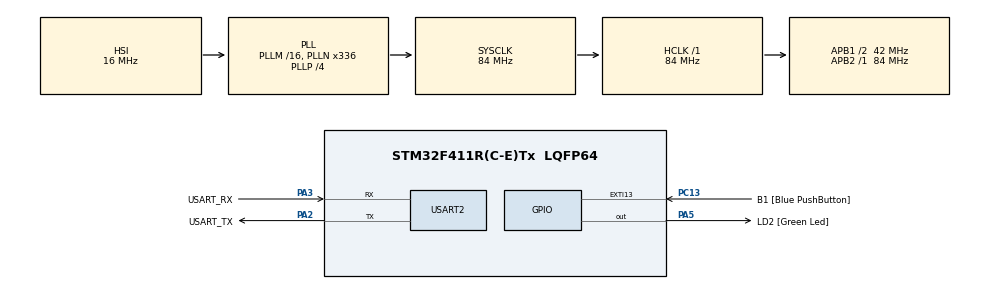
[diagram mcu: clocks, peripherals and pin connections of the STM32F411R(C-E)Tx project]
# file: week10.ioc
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Mcu.Family=STM32F4
Mcu.Name=STM32F411R(C-E)Tx
Mcu.Package=LQFP64
NVIC.PriorityGroup=NVIC_PRIORITYGROUP_0
NVIC.USART2_IRQn=true\:0\:0\:false\:false\:true\:true\:true
PA13.GPIO_Label=TMS
PA13.Mode=Serial_Wire
PA13.Signal=SYS_JTMS-SWDIO
PA14.GPIO_Label=TCK
PA14.Mode=Serial_Wire
PA14.Signal=SYS_JTCK-SWCLK
PA2.GPIO_Label=USART_TX
PA2.Mode=Asynchronous
PA2.Signal=USART2_TX
PA3.GPIO_Label=USART_RX
PA3.Mode=Asynchronous
PA3.Signal=USART2_RX
PA5.GPIO_Label=LD2 [Green Led]
PA5.Signal=GPIO_Output
PB3.GPIO_Label=SWO
PB3.Signal=SYS_JTDO-SWO
PC13-ANTI_TAMP.GPIO_Label=B1 [Blue PushButton]
PC13-ANTI_TAMP.GPIO_ModeDefaultEXTI=GPIO_MODE_IT_FALLING
PC13-ANTI_TAMP.Signal=GPXTI13
PC14-OSC32_IN.Mode=LSE-External-Oscillator
PC14-OSC32_IN.Signal=RCC_OSC32_IN
PC15-OSC32_OUT.Mode=LSE-External-Oscillator
PC15-OSC32_OUT.Signal=RCC_OSC32_OUT
PH0\ -\ OSC_IN.Mode=HSE-External-Clock-Source
PH0\ -\ OSC_IN.Signal=RCC_OSC_IN
PH1\ -\ OSC_OUT.Mode=HSE-External-Clock-Source
PH1\ -\ OSC_OUT.Signal=RCC_OSC_OUT
ProjectManager.HeapSize=0x200
ProjectManager.StackSize=0x400
ProjectManager.TargetToolchain=STM32CubeIDE
RCC.48MHZClocksFreq_Value=84000000
RCC.AHBFreq_Value=84000000
RCC.APB1CLKDivider=RCC_HCLK_DIV2
RCC.APB1Freq_Value=42000000
RCC.APB1TimFreq_Value=84000000
RCC.APB2Freq_Value=84000000
RCC.APB2TimFreq_Value=84000000
RCC.CortexFreq_Value=84000000
RCC.FLatency-AdvancedSettings=FLASH_LATENCY_2
RCC.HCLKFreq_Value=84000000
RCC.HSE_VALUE=8000000
RCC.HSI_VALUE=16000000
RCC.PLLN=336
RCC.PLLP=RCC_PLLP_DIV4
RCC.SYSCLKFreq_VALUE=84000000
RCC.SYSCLKSource=RCC_SYSCLKSOURCE_PLLCLK
RCC.VCOOutputFreq_Value=336000000
USART2.VirtualMode=VM_ASYNC
board=NUCLEO-F411RE

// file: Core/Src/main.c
/* USER CODE BEGIN Header */
/**
  ******************************************************************************
  * @file           : main.c
  * @brief          : Main program body
  ******************************************************************************
  * @attention
  *
  * <h2><center>&copy; Copyright (c) 2021 STMicroelectronics.
  * All rights reserved.</center></h2>
  *
  * This software component is licensed by ST under BSD 3-Clause license,
  * the "License"; You may not use this file except in compliance with the
  * License. You may obtain a copy of the License at:
  *                        opensource.org/licenses/BSD-3-Clause
  *
  ******************************************************************************
  */
/* USER CODE END Header */
#include "main.h"

/* USER CODE BEGIN Includes */
#include <stdio.h>//sprintf
#include <string.h>//string
/* USER CODE END Includes */

UART_HandleTypeDef huart2;

/* USER CODE BEGIN PV */
char TxDataBuffer[32] =
{ 0 };
char RxDataBuffer[32] =
{ 0 };
uint16_t STATE_Display = 0;
uint16_t freq = 1;
float halftime = 500;
uint16_t blink = 1;
uint16_t on = 1;
uint16_t button[2] = {};
uint16_t count = 0;
/* USER CODE END PV */

void SystemClock_Config(void);
static void MX_GPIO_Init(void);
static void MX_USART2_UART_Init(void);
/* USER CODE BEGIN PFP */
void UARTRecieveAndResponsePolling();
int16_t UARTRecieveIT();
/* USER CODE END PFP */

int main(void)
{

  /* MCU Configuration--------------------------------------------------------*/

  /* Reset of all peripherals, Initializes the Flash interface and the Systick. */
  HAL_Init();

  /* Configure the system clock */
  SystemClock_Config();

  /* Initialize all configured peripherals */
  MX_GPIO_Init();
  MX_USART2_UART_Init();
  /* USER CODE BEGIN 2 */
  enum _StateDisplay
  {
	  StateDisplay_start =0,
	  StateMode = 10,
	  StateMenuNo_0 = 20,
	  StateNo_0 = 30,
	  StateMenuNo_1 = 40,
	  StateNo_1 = 50
  };
  {
	  //char temp[] = "This simulation is ready wait for key.\r\n";
	  //HAL_UART_Transmit_IT(&huart2, (uint8_t*) temp,strlen(temp));
	  //HAL_UART_Transmit(&huart2, (uint8_t*) temp,strlen(temp),10);
  }
  /* USER CODE END 2 */

  /* Infinite loop */
  /* USER CODE BEGIN WHILE */
  while (1)
  {
	  button[0] = HAL_GPIO_ReadPin(GPIOC, GPIO_PIN_13);
	  HAL_UART_Receive_IT(&huart2,  (uint8_t*)RxDataBuffer, 4);
	  	  int16_t inputchar = UARTRecieveIT();
	  	  if(inputchar!=-1)
	  	  {
	  	  	sprintf(TxDataBuffer, "ReceivedChar:[%c]\r\n", inputchar);
	  	  	HAL_UART_Transmit(&huart2, (uint8_t*)TxDataBuffer, strlen(TxDataBuffer),1000);
	  	  }
	  switch(STATE_Display){
	  case StateDisplay_start://0
		  sprintf(TxDataBuffer, "Please select Mode.\r\n[0]:LED Control\r\n[1]:button Status\r\n");
		  HAL_UART_Transmit(&huart2, (uint8_t*)TxDataBuffer, strlen(TxDataBuffer),1000);
	  	  STATE_Display = StateMode;
	  	  break;
	  case StateMode://10
		  switch(inputchar){
		  case -1:
			  break;
		  case '0':
			  count = 0;
			  STATE_Display = StateMenuNo_0;
			  break;
		  case '1':
			  count = 0;
			  STATE_Display = StateMenuNo_1;
			  break;
		  default:
			  count+=1;
			  if(count==2)
			  {
				  count=0;
				  STATE_Display = StateDisplay_start;
			  }
		  }
		  break;
	  case StateMenuNo_0://20
		  sprintf(TxDataBuffer,"Mode0\r\n[a]:+1Hz\r\n[s]:-1Hz\r\n[d]:On/Off\r\n[x]:back\r\n");
		  HAL_UART_Transmit(&huart2, (uint8_t*)TxDataBuffer, strlen(TxDataBuffer),1000);
		  STATE_Display = StateNo_0;
		  break;
	  case StateNo_0://30
		  switch(inputchar){
		  		  		  case -1:
		  		  			  break;
		  		  		  case 'a':
		  		  			  if(on==1){
		  		  			  freq+=1;
		  		  			  halftime=500/freq;
		  		  			  blink=1;}
		  		  			  break;
		  		  		  case 's':
		  		  			  if(on==1){
		  		  			  freq-=1;
		  		  			  if(freq<=0)
		  		  			  {
		  		  				  freq=0;
		  		  				  blink=0;
		  		  			  }
		  		  			  else if(freq>0){
		  		  			  halftime=500/freq;}}
		  		  			  break;
		  		  		  case 'd':
		  		  			  if(blink==1)
		  		  			  {
		  		  				  blink=0;
		  		  				  on = 0;
		  		  			  }
		  		  			  else if(blink==0)
		  		  			  {
		  		  				  blink=1;
		  		  				  on = 1;
		  		  			  }
		  		  			  break;
		  		  		  case 'x':
		  		  			  count = 0;
		  		  			  STATE_Display = StateDisplay_start;
		  		  			  break;
		  				  default:
		  					  count+=1;
		  					  if(count==2)
		  					  {
		  						  count = 0;
		  						  STATE_Display = StateMenuNo_0;
		  					  }
		  		  		  }
		  		  		  break;
	  case StateMenuNo_1://40
		  sprintf(TxDataBuffer, "Mode1\r\n [x] : back\r\n");
		  HAL_UART_Transmit(&huart2, (uint8_t*)TxDataBuffer, strlen(TxDataBuffer),1000);
	  	  STATE_Display = StateNo_1;
	  	  break;
	  case StateNo_1://50
		  if(button[0]==0&button[1]==1)
		  {
			  sprintf(TxDataBuffer, "button press\r\n");
			  HAL_UART_Transmit(&huart2, (uint8_t*)TxDataBuffer, strlen(TxDataBuffer),1000);
		  }
		  else if (button[0]==1&button[1]==0)
		  {
			  sprintf(TxDataBuffer, "button unpress\r\n");
			  HAL_UART_Transmit(&huart2, (uint8_t*)TxDataBuffer, strlen(TxDataBuffer),1000);
		  }
		  switch(inputchar)
		  {
		  case -1:
			  break;
		  case 'x':
			  count = 0;
			  STATE_Display = StateDisplay_start;
			  break;
		  default:
			  count+=1;
			  if(count==2)
			  {
				  count = 0;
				  STATE_Display = StateMenuNo_1;
			  }
		  }
		  break;
	  }
	  if(blink == 0&on==1)
	  	  {
	  		  HAL_GPIO_WritePin(LD2_GPIO_Port, LD2_Pin, 1);
	  	  }
	  else if (blink == 0&on==0)
	  {
		  HAL_GPIO_WritePin(LD2_GPIO_Port, LD2_Pin,0);
	  }
	  else if(blink == 1){
		  HAL_Delay(halftime);
		  HAL_GPIO_TogglePin(LD2_GPIO_Port, LD2_Pin);}
	  button[1]=button[0];
    /* USER CODE END WHILE */

  }
}

void SystemClock_Config(void)
{
  RCC_OscInitTypeDef RCC_OscInitStruct = {0};
  RCC_ClkInitTypeDef RCC_ClkInitStruct = {0};

  /** Configure the main internal regulator output voltage
  */
  __HAL_RCC_PWR_CLK_ENABLE();
  __HAL_PWR_VOLTAGESCALING_CONFIG(PWR_REGULATOR_VOLTAGE_SCALE1);
  /** Initializes the RCC Oscillators according to the specified parameters
  * in the RCC_OscInitTypeDef structure.
  */
  RCC_OscInitStruct.OscillatorType = RCC_OSCILLATORTYPE_HSI;
  RCC_OscInitStruct.HSIState = RCC_HSI_ON;
  RCC_OscInitStruct.HSICalibrationValue = RCC_HSICALIBRATION_DEFAULT;
  RCC_OscInitStruct.PLL.PLLState = RCC_PLL_ON;
  RCC_OscInitStruct.PLL.PLLSource = RCC_PLLSOURCE_HSI;
  RCC_OscInitStruct.PLL.PLLM = 16;
  RCC_OscInitStruct.PLL.PLLN = 336;
  RCC_OscInitStruct.PLL.PLLP = RCC_PLLP_DIV4;
  RCC_OscInitStruct.PLL.PLLQ = 4;
  if (HAL_RCC_OscConfig(&RCC_OscInitStruct) != HAL_OK)
  {
    Error_Handler();
  }
  /** Initializes the CPU, AHB and APB buses clocks
  */
  RCC_ClkInitStruct.ClockType = RCC_CLOCKTYPE_HCLK|RCC_CLOCKTYPE_SYSCLK
                              |RCC_CLOCKTYPE_PCLK1|RCC_CLOCKTYPE_PCLK2;
  RCC_ClkInitStruct.SYSCLKSource = RCC_SYSCLKSOURCE_PLLCLK;
  RCC_ClkInitStruct.AHBCLKDivider = RCC_SYSCLK_DIV1;
  RCC_ClkInitStruct.APB1CLKDivider = RCC_HCLK_DIV2;
  RCC_ClkInitStruct.APB2CLKDivider = RCC_HCLK_DIV1;

  if (HAL_RCC_ClockConfig(&RCC_ClkInitStruct, FLASH_LATENCY_2) != HAL_OK)
  {
    Error_Handler();
  }
}

static void MX_USART2_UART_Init(void)
{

  huart2.Instance = USART2;
  huart2.Init.BaudRate = 115200;
  huart2.Init.WordLength = UART_WORDLENGTH_8B;
  huart2.Init.StopBits = UART_STOPBITS_1;
  huart2.Init.Parity = UART_PARITY_NONE;
  huart2.Init.Mode = UART_MODE_TX_RX;
  huart2.Init.HwFlowCtl = UART_HWCONTROL_NONE;
  huart2.Init.OverSampling = UART_OVERSAMPLING_16;
  if (HAL_UART_Init(&huart2) != HAL_OK)
  {
    Error_Handler();
  }

}

static void MX_GPIO_Init(void)
{
  GPIO_InitTypeDef GPIO_InitStruct = {0};

  /* GPIO Ports Clock Enable */
  __HAL_RCC_GPIOC_CLK_ENABLE();
  __HAL_RCC_GPIOH_CLK_ENABLE();
  __HAL_RCC_GPIOA_CLK_ENABLE();
  __HAL_RCC_GPIOB_CLK_ENABLE();

  /*Configure GPIO pin Output Level */
  HAL_GPIO_WritePin(LD2_GPIO_Port, LD2_Pin, GPIO_PIN_RESET);

  /*Configure GPIO pin : B1_Pin */
  GPIO_InitStruct.Pin = B1_Pin;
  GPIO_InitStruct.Mode = GPIO_MODE_IT_FALLING;
  GPIO_InitStruct.Pull = GPIO_NOPULL;
  HAL_GPIO_Init(B1_GPIO_Port, &GPIO_InitStruct);

  /*Configure GPIO pin : LD2_Pin */
  GPIO_InitStruct.Pin = LD2_Pin;
  GPIO_InitStruct.Mode = GPIO_MODE_OUTPUT_PP;
  GPIO_InitStruct.Pull = GPIO_NOPULL;
  GPIO_InitStruct.Speed = GPIO_SPEED_FREQ_LOW;
  HAL_GPIO_Init(LD2_GPIO_Port, &GPIO_InitStruct);

}

/* USER CODE BEGIN 4 */
void UARTRecieveAndResponsePolling()
{
	char Recieve[32]={0};

	HAL_UART_Receive(&huart2, (uint8_t*)Recieve, 4, 1000);

	sprintf(TxDataBuffer, "Received:[%s]\r\n", Recieve);
	HAL_UART_Transmit(&huart2, (uint8_t*)TxDataBuffer, strlen(TxDataBuffer), 1000);

}

int16_t UARTRecieveIT()
{
	static uint32_t dataPos =0;
	int16_t data=-1;
	if(huart2.RxXferSize - huart2.RxXferCount!=dataPos)
	{
		data=RxDataBuffer[dataPos];
		dataPos= (dataPos+1)%huart2.RxXferSize;
	}
	return data;
}

void HAL_UART_RxCpltCallback(UART_HandleTypeDef *huart)
{
	sprintf(TxDataBuffer, "Received:[%s]\r\n", RxDataBuffer);
	HAL_UART_Transmit_IT(&huart2, (uint8_t*)TxDataBuffer, strlen(TxDataBuffer));
}
/* USER CODE END 4 */

void Error_Handler(void)
{
  __disable_irq();
  while (1)
  {
  }
}

/************************ (C) COPYRIGHT STMicroelectronics *****END OF FILE****/
